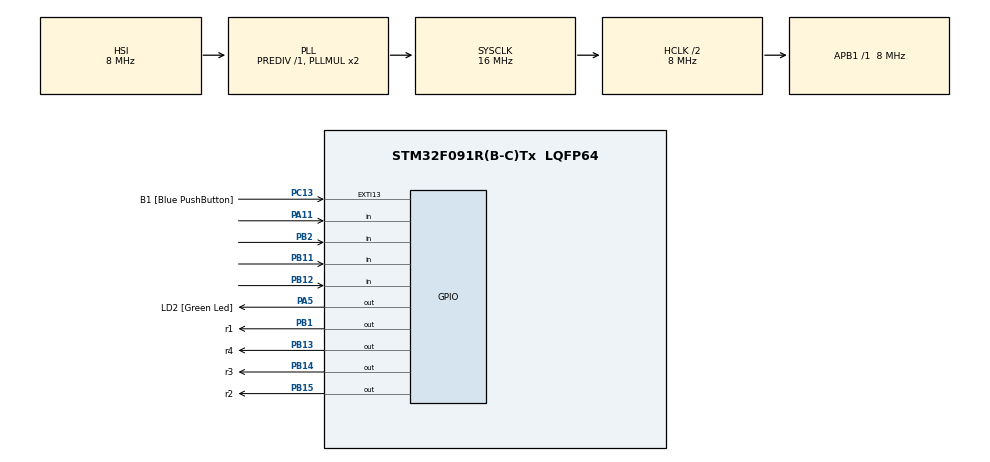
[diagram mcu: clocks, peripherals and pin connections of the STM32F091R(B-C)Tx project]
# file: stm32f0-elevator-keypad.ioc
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Mcu.Family=STM32F0
Mcu.Name=STM32F091R(B-C)Tx
Mcu.Package=LQFP64
NVIC.TIM2_IRQn=true\:0\:0\:false\:false\:true\:true\:true\:true
PA11.GPIO_PuPd=GPIO_PULLUP
PA11.Signal=GPIO_Input
PA13.GPIO_Label=TMS
PA13.Mode=Serial_Wire
PA13.Signal=SYS_SWDIO
PA14.GPIO_Label=TCK
PA14.Mode=Serial_Wire
PA14.Signal=SYS_SWCLK
PA5.GPIO_Label=LD2 [Green Led]
PA5.GPIO_Mode=GPIO_MODE_OUTPUT_PP
PA5.GPIO_PuPd=GPIO_NOPULL
PA5.GPIO_Speed=GPIO_SPEED_FREQ_LOW
PA5.Signal=GPIO_Output
PB1.GPIO_Label=r1
PB1.Signal=GPIO_Output
PB11.GPIO_PuPd=GPIO_PULLUP
PB11.Signal=GPIO_Input
PB12.GPIO_PuPd=GPIO_PULLUP
PB12.Signal=GPIO_Input
PB13.GPIO_Label=r4
PB13.Signal=GPIO_Output
PB14.GPIO_Label=r3
PB14.Signal=GPIO_Output
PB15.GPIO_Label=r2
PB15.Signal=GPIO_Output
PB2.GPIO_PuPd=GPIO_PULLUP
PB2.Signal=GPIO_Input
PC13.GPIO_Label=B1 [Blue PushButton]
PC13.GPIO_ModeDefaultEXTI=GPIO_MODE_IT_FALLING
PC13.Signal=GPXTI13
PC14OSC32_IN.Mode=LSE-External-Oscillator
PC14OSC32_IN.Signal=RCC_OSC32_IN
PC15OSC32_OUT.Mode=LSE-External-Oscillator
PC15OSC32_OUT.Signal=RCC_OSC32_OUT
PF0-OSC_IN.Mode=HSE-External-Clock-Source
PF0-OSC_IN.Signal=RCC_OSC_IN
PF1-OSC_OUT.Signal=RCC_OSC_OUT
ProjectManager.HeapSize=0x200
ProjectManager.StackSize=0x400
ProjectManager.TargetToolchain=STM32CubeIDE
RCC.AHBCLKDivider=RCC_SYSCLK_DIV2
RCC.AHBFreq_Value=8000000
RCC.APB1Freq_Value=8000000
RCC.APB1TimFreq_Value=8000000
RCC.FLatency-AdvancedSettings=FLASH_LATENCY_0
RCC.HCLKFreq_Value=8000000
RCC.PREFETCH_ENABLE-AdvancedSettings=1
RCC.SYSCLKFreq_VALUE=16000000
RCC.SYSCLKSource=RCC_SYSCLKSOURCE_PLLCLK
TIM2.Period=1000-1
TIM2.Prescaler=8-1
VP_TIM2_VS_ClockSourceINT.Mode=Internal
board=NUCLEO-F091RC

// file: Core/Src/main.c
/* USER CODE BEGIN Header */
/**
  ******************************************************************************
  * @file           : main.c
  * @brief          : Main program body
  * @author         : M. Eyub Can, TECH-OHM (https://tech-ohm.com)
  ******************************************************************************
  * @attention
  *
  * Copyright (c) 2025 STMicroelectronics.
  * All rights reserved.
  *
  * This software is licensed under terms that can be found in the LICENSE file
  * in the root directory of this software component.
  * If no LICENSE file comes with this software, it is provided AS-IS.
  *
  ******************************************************************************
  */
/* USER CODE END Header */
#include "main.h"
#include <stdint.h>
/* USER CODE BEGIN Includes */
typedef enum {
    E_IDLE = 0,     // stopped, LED stays on
    E_UP,           // going up, LED toggles every 0.5 s
    E_DOWN,         // going down, LED toggles every 0.2 s
    E_DWELL         // arrived at a floor, wait 3 s, LED stays on
} ElevatorState;

volatile int currentFloor = 0;     // floor the car is on
volatile int targetFloor  = 0;     // floor it is heading to
volatile ElevatorState st = E_IDLE;

static volatile uint32_t ms = 0;   // 1 ms counter

static volatile uint8_t req[10] = {0};

static volatile int8_t direction = 0;

static uint32_t lastToggleMs = 0;
static uint8_t  toggleCount = 0;

static uint32_t dwellStartMs = 0;

static const char keymap[4][4] = {
    {'1','2','3','A'},
    {'4','5','6','B'},
    {'7','8','9','C'},
    {'*','0','#','D'}
};
volatile char pressedKey = 0;
volatile char lastKey = 0;
/* USER CODE END Includes */

TIM_HandleTypeDef htim2;

void SystemClock_Config(void);
static void MX_GPIO_Init(void);
static void MX_TIM2_Init(void);

/* USER CODE BEGIN 0 */
static int find_next_target(void)
{
    if (direction >= 0) // going up: calls above come first
    {
        for (int f = currentFloor; f <= 9; f++)
            if (req[f]) return f;

        // nothing above, turn around
        direction = -1;
        for (int f = currentFloor; f >= 0; f--)
            if (req[f]) return f;
    }
    else
    {
        for (int f = currentFloor; f >= 0; f--)
            if (req[f]) return f;

        // nothing below, turn around
        direction = +1;
        for (int f = currentFloor; f <= 9; f++)
            if (req[f]) return f;
    }

    return -1;
}

static void add_request_from_key(char k)
{
    if (k >= '0' && k <= '9')
    {
        int f = k - '0';
        req[f] = 1;
    }
}
char Keypad_GetKey_Event(void)
{
    static uint8_t keyIsDown = 0;

    // ROWS: R1=PB1, R2=PB15, R3=PB14, R4=PB13  (OUTPUT)
    uint16_t rowPins[4] = {GPIO_PIN_1, GPIO_PIN_15, GPIO_PIN_14, GPIO_PIN_13};

    // COLS: C1=PA11, C2=PB12, C3=PB11, C4=PB2  (INPUT + PULL-UP)
    GPIO_TypeDef* colPorts[4] = {GPIOA, GPIOB, GPIOB, GPIOB};
    uint16_t      colPins[4]  = {GPIO_PIN_11, GPIO_PIN_12, GPIO_PIN_11, GPIO_PIN_2};

    char detected = 0;

    for (int r = 0; r < 4; r++)
    {

        HAL_GPIO_WritePin(GPIOB,
                          GPIO_PIN_1 | GPIO_PIN_15 | GPIO_PIN_14 | GPIO_PIN_13,
                          GPIO_PIN_SET);

        HAL_GPIO_WritePin(GPIOB, rowPins[r], GPIO_PIN_RESET);

        HAL_Delay(1);

        for (int c = 0; c < 4; c++)
        {
            if (HAL_GPIO_ReadPin(colPorts[c], colPins[c]) == GPIO_PIN_RESET)
            {
                // debounce
                HAL_Delay(20);
                if (HAL_GPIO_ReadPin(colPorts[c], colPins[c]) == GPIO_PIN_RESET)
                {
                    detected = keymap[r][c];
                }
                goto done_scan;
            }
        }
    }

done_scan:
    // ---- Report a key only once per press ----
    if (detected != 0)
    {
        if (keyIsDown == 0)
        {
            keyIsDown = 1;
            return detected;
        }
        else
        {
            return 0;           // key is held down, do not report it again
        }
    }
    else
    {
        keyIsDown = 0;          // key released
        return 0;
    }
}

void HAL_TIM_PeriodElapsedCallback(TIM_HandleTypeDef *htim)
{
    if (htim->Instance != TIM2) return;

    ms++;

    // ---- IDLE / DWELL: LED stays on ----
    if (st == E_IDLE)
    {
        HAL_GPIO_WritePin(GPIOA, GPIO_PIN_5, GPIO_PIN_SET);

        int next = find_next_target();
        if (next >= 0 && next != currentFloor)
        {
            targetFloor = next;
            st = (targetFloor > currentFloor) ? E_UP : E_DOWN;

            // reset the movement counters
            toggleCount = 0;
            lastToggleMs = ms;
        }
        return;
    }

    if (st == E_DWELL)
    {
        HAL_GPIO_WritePin(GPIOA, GPIO_PIN_5, GPIO_PIN_SET);

        if (ms - dwellStartMs >= 3000)
        {
            // 3 seconds are up, go to the next target
            int next = find_next_target();
            if (next >= 0 && next != currentFloor)
            {
                targetFloor = next;
                st = (targetFloor > currentFloor) ? E_UP : E_DOWN;

                toggleCount = 0;
                lastToggleMs = ms;
            }
            else
            {
                st = E_IDLE;
            }
        }
        return;
    }

    // ---- MOVING: LED toggles, 10 toggles = 1 floor ----
    uint32_t interval = (st == E_UP) ? 500 : 200;  // ms

    if (ms - lastToggleMs >= interval)
    {
        lastToggleMs = ms;
        HAL_GPIO_TogglePin(GPIOA, GPIO_PIN_5);
        toggleCount++;

        // 10 toggles = 5 full periods = 1 floor
        if (toggleCount >= 10)
        {
            toggleCount = 0;

            if (st == E_UP && currentFloor < 9) currentFloor++;
            else if (st == E_DOWN && currentFloor > 0) currentFloor--;

            // Is there a call for this floor? Calls made on the way are caught here.
            if (req[currentFloor])
            {
                req[currentFloor] = 0;     // call served
                dwellStartMs = ms;         // wait 3 s
                st = E_DWELL;
                return;
            }

            // Reached the main target?
            if (currentFloor == targetFloor)
            {
                // At the target floor, wait 3 seconds
                dwellStartMs = ms;
                st = E_DWELL;
                return;
            }

            // Update the target if a new call came in on the way
            int next = find_next_target();
            if (next >= 0) targetFloor = next;

            // Update the direction
            if (targetFloor > currentFloor) { st = E_UP; direction = +1; }
            else if (targetFloor < currentFloor) { st = E_DOWN; direction = -1; }
            else { st = E_DWELL; dwellStartMs = ms; }
        }
    }
}
/* USER CODE END 0 */

int main(void)
{

  /* MCU Configuration--------------------------------------------------------*/

  /* Reset of all peripherals, Initializes the Flash interface and the Systick. */
   HAL_Init();

  /* Configure the system clock */
  SystemClock_Config();

  /* Initialize all configured peripherals */
  MX_GPIO_Init();
  MX_TIM2_Init();
  /* USER CODE BEGIN 2 */
  HAL_TIM_Base_Start_IT(&htim2);
  currentFloor = 0;
      direction = +1;   // the first scan looks upward
      st = E_IDLE;
  /* USER CODE END 2 */

  /* Infinite loop */
  while (1)
  {

    /* USER CODE BEGIN 3 */

	  char k = Keypad_GetKey_Event();
	         if (k) add_request_from_key(k);
  }
  /* USER CODE END 3 */
}

void SystemClock_Config(void)
{
  RCC_OscInitTypeDef RCC_OscInitStruct = {0};
  RCC_ClkInitTypeDef RCC_ClkInitStruct = {0};

  /** Initializes the RCC Oscillators according to the specified parameters
  * in the RCC_OscInitTypeDef structure.
  */
  RCC_OscInitStruct.OscillatorType = RCC_OSCILLATORTYPE_HSI;
  RCC_OscInitStruct.HSIState = RCC_HSI_ON;
  RCC_OscInitStruct.HSICalibrationValue = RCC_HSICALIBRATION_DEFAULT;
  RCC_OscInitStruct.PLL.PLLState = RCC_PLL_ON;
  RCC_OscInitStruct.PLL.PLLSource = RCC_PLLSOURCE_HSI;
  RCC_OscInitStruct.PLL.PLLMUL = RCC_PLL_MUL2;
  RCC_OscInitStruct.PLL.PREDIV = RCC_PREDIV_DIV1;
  if (HAL_RCC_OscConfig(&RCC_OscInitStruct) != HAL_OK)
  {
    Error_Handler();
  }

  /** Initializes the CPU, AHB and APB buses clocks
  */
  RCC_ClkInitStruct.ClockType = RCC_CLOCKTYPE_HCLK|RCC_CLOCKTYPE_SYSCLK
                              |RCC_CLOCKTYPE_PCLK1;
  RCC_ClkInitStruct.SYSCLKSource = RCC_SYSCLKSOURCE_PLLCLK;
  RCC_ClkInitStruct.AHBCLKDivider = RCC_SYSCLK_DIV2;
  RCC_ClkInitStruct.APB1CLKDivider = RCC_HCLK_DIV1;

  if (HAL_RCC_ClockConfig(&RCC_ClkInitStruct, FLASH_LATENCY_0) != HAL_OK)
  {
    Error_Handler();
  }
}

static void MX_TIM2_Init(void)
{

  TIM_ClockConfigTypeDef sClockSourceConfig = {0};
  TIM_MasterConfigTypeDef sMasterConfig = {0};

  htim2.Instance = TIM2;
  htim2.Init.Prescaler = 8-1;
  htim2.Init.CounterMode = TIM_COUNTERMODE_UP;
  htim2.Init.Period = 1000-1;
  htim2.Init.ClockDivision = TIM_CLOCKDIVISION_DIV1;
  htim2.Init.AutoReloadPreload = TIM_AUTORELOAD_PRELOAD_DISABLE;
  if (HAL_TIM_Base_Init(&htim2) != HAL_OK)
  {
    Error_Handler();
  }
  sClockSourceConfig.ClockSource = TIM_CLOCKSOURCE_INTERNAL;
  if (HAL_TIM_ConfigClockSource(&htim2, &sClockSourceConfig) != HAL_OK)
  {
    Error_Handler();
  }
  sMasterConfig.MasterOutputTrigger = TIM_TRGO_RESET;
  sMasterConfig.MasterSlaveMode = TIM_MASTERSLAVEMODE_DISABLE;
  if (HAL_TIMEx_MasterConfigSynchronization(&htim2, &sMasterConfig) != HAL_OK)
  {
    Error_Handler();
  }

}

static void MX_GPIO_Init(void)
{
  GPIO_InitTypeDef GPIO_InitStruct = {0};

  /* GPIO Ports Clock Enable */
  __HAL_RCC_GPIOC_CLK_ENABLE();
  __HAL_RCC_GPIOF_CLK_ENABLE();
  __HAL_RCC_GPIOA_CLK_ENABLE();
  __HAL_RCC_GPIOB_CLK_ENABLE();

  /*Configure GPIO pin Output Level */
  HAL_GPIO_WritePin(LD2_GPIO_Port, LD2_Pin, GPIO_PIN_RESET);

  /*Configure GPIO pin Output Level */
  HAL_GPIO_WritePin(GPIOB, r1_Pin|r4_Pin|r3_Pin|r2_Pin, GPIO_PIN_RESET);

  /*Configure GPIO pin : B1_Pin */
  GPIO_InitStruct.Pin = B1_Pin;
  GPIO_InitStruct.Mode = GPIO_MODE_IT_FALLING;
  GPIO_InitStruct.Pull = GPIO_NOPULL;
  HAL_GPIO_Init(B1_GPIO_Port, &GPIO_InitStruct);

  /*Configure GPIO pin : LD2_Pin */
  GPIO_InitStruct.Pin = LD2_Pin;
  GPIO_InitStruct.Mode = GPIO_MODE_OUTPUT_PP;
  GPIO_InitStruct.Pull = GPIO_NOPULL;
  GPIO_InitStruct.Speed = GPIO_SPEED_FREQ_LOW;
  HAL_GPIO_Init(LD2_GPIO_Port, &GPIO_InitStruct);

  /*Configure GPIO pins : r1_Pin r4_Pin r3_Pin r2_Pin */
  GPIO_InitStruct.Pin = r1_Pin|r4_Pin|r3_Pin|r2_Pin;
  GPIO_InitStruct.Mode = GPIO_MODE_OUTPUT_PP;
  GPIO_InitStruct.Pull = GPIO_NOPULL;
  GPIO_InitStruct.Speed = GPIO_SPEED_FREQ_LOW;
  HAL_GPIO_Init(GPIOB, &GPIO_InitStruct);

  /*Configure GPIO pins : PB2 PB11 PB12 */
  GPIO_InitStruct.Pin = GPIO_PIN_2|GPIO_PIN_11|GPIO_PIN_12;
  GPIO_InitStruct.Mode = GPIO_MODE_INPUT;
  GPIO_InitStruct.Pull = GPIO_PULLUP;
  HAL_GPIO_Init(GPIOB, &GPIO_InitStruct);

  /*Configure GPIO pin : PA11 */
  GPIO_InitStruct.Pin = GPIO_PIN_11;
  GPIO_InitStruct.Mode = GPIO_MODE_INPUT;
  GPIO_InitStruct.Pull = GPIO_PULLUP;
  HAL_GPIO_Init(GPIOA, &GPIO_InitStruct);

}

void Error_Handler(void)
{
  __disable_irq();
  while (1)
  {
  }
}
